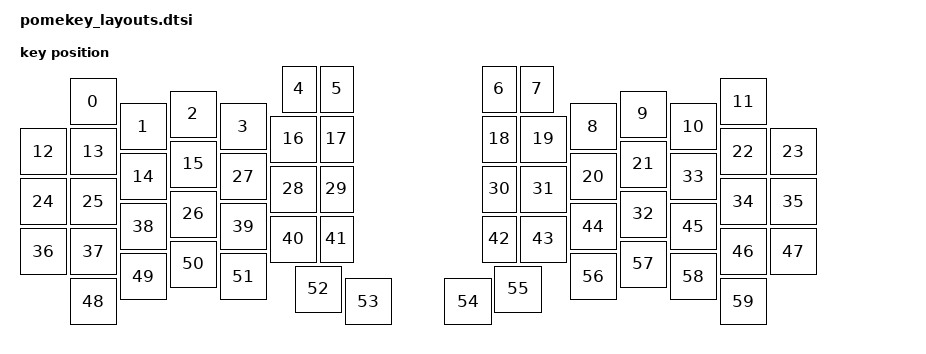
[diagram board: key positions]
/*
 * Copyright (c) 2020 Pete Johanson
 *
 * SPDX-License-Identifier: MIT
 */


#include <physical_layouts.dtsi>

/ {
    physical_layout0: physical_layout_0 {
        compatible = "zmk,physical-layout";
        display-name = "Default Layout";
        transform = <&default_transform>;
        keys  //                     w   h    x    y     rot    rx    ry
            = <&key_physical_attrs 100 100  100  125       0     0     0> // SW206
            , <&key_physical_attrs 100 100  200  175       0     0     0> // SW201
            , <&key_physical_attrs 100 100  300  150       0     0     0> // SW202
            , <&key_physical_attrs 100 100  400  175       0     0     0> // SW203
            , <&key_physical_attrs  75 100  525  100       0     0     0> // SW204
            , <&key_physical_attrs  75 100  600  100       0     0     0> // SW205
            , <&key_physical_attrs  75 100  925  100       0     0     0> // SW305
            , <&key_physical_attrs  75 100 1000  100       0     0     0> // SW304
            , <&key_physical_attrs 100 100 1100  175       0     0     0> // SW303
            , <&key_physical_attrs 100 100 1200  150       0     0     0> // SW302
            , <&key_physical_attrs 100 100 1300  175       0     0     0> // SW301
            , <&key_physical_attrs 100 100 1400  125       0     0     0> // SW306

            , <&key_physical_attrs 100 100    0  225       0     0     0> // SW216
            , <&key_physical_attrs 100 100  100  225       0     0     0> // SW211
            , <&key_physical_attrs 100 100  200  275       0     0     0> // SW212
            , <&key_physical_attrs 100 100  300  250       0     0     0> // SW207
            , <&key_physical_attrs 100 100  500  200       0     0     0> // SW209
            , <&key_physical_attrs  75 100  600  200       0     0     0> // SW210
            , <&key_physical_attrs  75 100  925  200       0     0     0> // SW310
            , <&key_physical_attrs 100 100 1000  200       0     0     0> // SW309
            , <&key_physical_attrs 100 100 1100  275       0     0     0> // SW308
            , <&key_physical_attrs 100 100 1200  250       0     0     0> // SW307
            , <&key_physical_attrs 100 100 1400  225       0     0     0> // SW311
            , <&key_physical_attrs 100 100 1500  225       0     0     0> // SW316

            , <&key_physical_attrs 100 100    0  325       0     0     0> // SW221
            , <&key_physical_attrs 100 100  100  325       0     0     0> // SW217
            , <&key_physical_attrs 100 100  300  350       0     0     0> // SW218
            , <&key_physical_attrs 100 100  400  275       0     0     0> // SW208
            , <&key_physical_attrs 100 100  500  300       0     0     0> // SW214
            , <&key_physical_attrs  75 100  600  300       0     0     0> // SW215
            , <&key_physical_attrs  75 100  925  300       0     0     0> // SW315
            , <&key_physical_attrs 100 100 1000  300       0     0     0> // SW314
            , <&key_physical_attrs 100 100 1200  350       0     0     0> // SW318
            , <&key_physical_attrs 100 100 1300  275       0     0     0> // SW312
            , <&key_physical_attrs 100 100 1400  325       0     0     0> // SW317
            , <&key_physical_attrs 100 100 1500  325       0     0     0> // SW321

            , <&key_physical_attrs 100 100    0  425       0     0     0> // SW226
            , <&key_physical_attrs 100 100  100  425       0     0     0> // SW222
            , <&key_physical_attrs 100 100  200  375       0     0     0> // SW223
            , <&key_physical_attrs 100 100  400  375       0     0     0> // SW213
            , <&key_physical_attrs 100 100  500  400       0     0     0> // SW219
            , <&key_physical_attrs  75 100  600  400       0     0     0> // SW220
            , <&key_physical_attrs  75 100  925  400       0     0     0> // SW320
            , <&key_physical_attrs 100 100 1000  400       0     0     0> // SW319
            , <&key_physical_attrs 100 100 1100  375       0     0     0> // SW313
            , <&key_physical_attrs 100 100 1300  375       0     0     0> // SW323
            , <&key_physical_attrs 100 100 1400  425       0     0     0> // SW322
            , <&key_physical_attrs 100 100 1500  425       0     0     0> // SW326

            , <&key_physical_attrs 100 100  100  525       0     0     0> // SW227
            , <&key_physical_attrs 100 100  200  475       0     0     0> // SW228
            , <&key_physical_attrs 100 100  300  450       0     0     0> // SW229
            , <&key_physical_attrs 100 100  400  475       0     0     0> // SW224
            , <&key_physical_attrs 100 100  550  500       0     0     0> // SW230
            , <&key_physical_attrs 100 100  650  525       0     0     0> // SW225
            , <&key_physical_attrs 100 100  850  525       0     0     0> // SW325
            , <&key_physical_attrs 100 100  950  500       0     0     0> // SW330
            , <&key_physical_attrs 100 100 1100  475       0     0     0> // SW324
            , <&key_physical_attrs 100 100 1200  450       0     0     0> // SW329
            , <&key_physical_attrs 100 100 1300  475       0     0     0> // SW328
            , <&key_physical_attrs 100 100 1400  525       0     0     0> // SW327
            ;
    };
};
